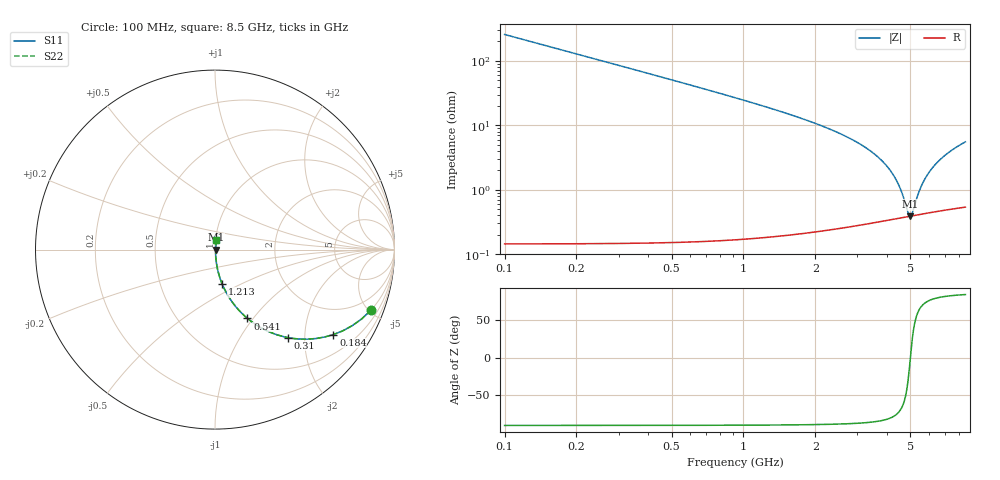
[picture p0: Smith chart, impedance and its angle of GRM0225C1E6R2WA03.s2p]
!Murata Part Number: GRM0225C1E6R2WA03
!These Parameters are Measured in Series Mode Connection
!Data Generated on Mar 30, 2021
!  o--ll--o
!Port1  Port2
!  o------o
!Operation Temp=25[degC], DC Bias Voltage=0[V]
!Freq. Start=100[MHz] Stop=9[GHz] 401[Steps]
# Hz S RI R 50
!Freq.(Hz) S11(Real) S11(Imag) S21(Real) S21(Imag) S12(Real) S12(Imag) S22(Real) S22(Imag)
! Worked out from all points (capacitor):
!   401 points, 100 MHz to 8.5 GHz, reference 50 ohm
!   read as one part in series: C = 6.2 pF near 142 MHz
!   lowest |Z| = 390 mohm at 4.993 GHz (marker M1)
!   series resonance near 5 GHz, so ESL is about 160 pH
!   S11 on the Smith chart (normalised r, x): 100 MHz: 1.00, -5.13; 184 MHz: 1.00, -2.79; 310 MHz: 1.00, -1.65; 541 MHz: 1.00, -0.94; 1.213 GHz: 1.00, -0.40; 8.5 GHz: 1.01, +0.11
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1e8  0.868 -0.3382  0.132 0.3382  0.132 0.3382  0.868 -0.3382
1.84e8  0.6598 -0.4733  0.3402 0.4733  0.3402 0.4733  0.6598 -0.4733
2.47e8  0.5179 -0.499  0.4821 0.499  0.4821 0.499  0.5179 -0.499
3.1e8  0.405 -0.49  0.595 0.49  0.595 0.49  0.405 -0.49
4.15e8  0.2743 -0.445  0.7257 0.445  0.7257 0.445  0.2743 -0.445
5.41e8  0.1809 -0.3833  0.8191 0.3833  0.8191 0.3833  0.1809 -0.3833
7.93e8  0.0916 -0.2858  0.9084 0.2858  0.9084 0.2858  0.0916 -0.2858
1.213e9  0.0396 -0.1904  0.9604 0.1904  0.9604 0.1904  0.0396 -0.1904
1.507e9  0.0251 -0.1501  0.9749 0.1501  0.9749 0.1501  0.0251 -0.1501
2.914e9  0.006 -0.0571  0.994 0.0571  0.994 0.0571  0.006 -0.0571
3.733e9  0.00408 -0.0298  0.9959 0.0298  0.9959 0.0298  0.00408 -0.0298
4.3e9  0.00374 -0.0152  0.9963 0.0152  0.9963 0.0152  0.00374 -0.0152
4.573e9  0.00374 -0.00893  0.9963 0.00893  0.9963 0.00893  0.00374 -0.00893
4.909e9  0.00384 -0.00183  0.9962 0.00183  0.9962 0.00183  0.00384 -0.00183
4.993e9  0.00388 -0.000132  0.9961 0.000132  0.9961 0.000132  0.00388 -0.000132
5.098e9  0.00394 0.00194  0.9961 -0.00194  0.9961 -0.00194  0.00394 0.00194
5.455e9  0.00419 0.00868  0.9958 -0.00868  0.9958 -0.00868  0.00419 0.00868
5.707e9  0.00441 0.0132  0.9956 -0.0132  0.9956 -0.0132  0.00441 0.0132
5.98e9  0.00469 0.0179  0.9953 -0.0179  0.9953 -0.0179  0.00469 0.0179
6.295e9  0.00505 0.023  0.995 -0.023  0.995 -0.023  0.00505 0.023
7.114e9  0.00612 0.0355  0.9939 -0.0355  0.9939 -0.0355  0.00612 0.0355
8.5e9  0.00833 0.0544  0.9917 -0.0544  0.9917 -0.0544  0.00833 0.0544
